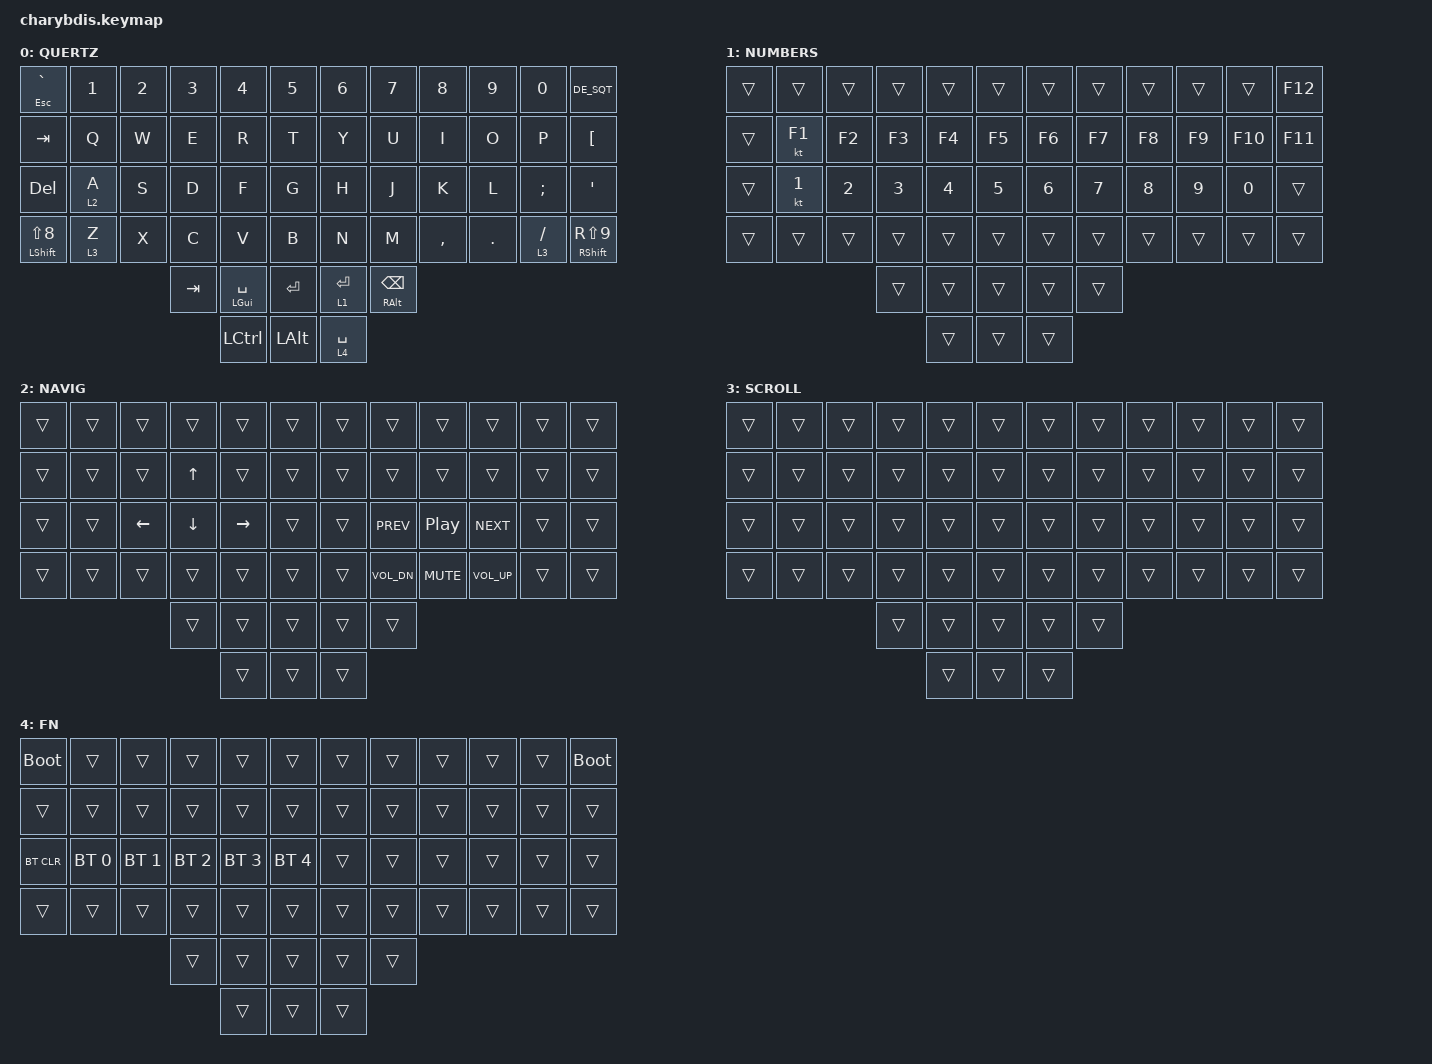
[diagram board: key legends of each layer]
#include "keys_de_swiss.h"
#include <dt-bindings/zmk/mouse.h>
#include <behaviors/mouse_keys.dtsi>
#include <behaviors.dtsi>
#include <dt-bindings/zmk/bt.h>
#include <dt-bindings/zmk/ext_power.h>
#include <dt-bindings/zmk/keys.h>
#include <dt-bindings/zmk/pointing.h>

// / {
//     chosen { zmk,matrix_transform = &default_transform; };
// };

/ {
    /* input config for mouse move mode */

    trackball_listener {
        compatible = "zmk,input-behavior-listener";
        device = <&vtrackball>;
        layers = <0 1 2 4>;
        evt-type = <INPUT_EV_REL>;
        x-input-code = <INPUT_REL_X>;
        y-input-code = <INPUT_REL_Y>;
        scale-multiplier = <1>;
        scale-divisor = <2>;

        // bindings = <&ib_toggle_layer 7>;
    };

    /* input config for snipe mode */


    /* input config for mouse scroll mode */

    trackball_scroll_listener {
        compatible = "zmk,input-behavior-listener";
        device = <&vtrackball>;
        layers = <3>;
        evt-type = <INPUT_EV_REL>;
        x-input-code = <INPUT_REL_MISC>;
        y-input-code = <INPUT_REL_WHEEL>;
        y-invert;
        bindings = <&ib_wheel_scaler 1 14>;
    };

    /* define a resolution down scaler only for INPUT_REL_WHEEL */

    ib_wheel_scaler: ib_wheel_scaler {
        compatible = "zmk,input-behavior-scaler";
        #binding-cells = <2>;
        evt-type = <INPUT_EV_REL>;
        input-code = <INPUT_REL_WHEEL>;
    };

    /* adjust cooldown waiting period for mouse key layer after activated */

    ib_toggle_layer: ib_toggle_layer {
        compatible = "zmk,input-behavior-tog-layer";
        #binding-cells = <1>;
        time-to-live-ms = <750>;
    };

    // #define QUERTZ    0
    // #define NUMBERS   1
    // #define NAVIG     2
    // #define SCROLL    3
    // #define FN        4

    combos {
        compatible = "zmk,combos";

        rh_backticks {
          bindings = <&kp EQUAL>;
          key-positions = <10 11>;  
        };

        rh_tilde {
          bindings = <&kp RIGHT_BRACKET>;
          key-positions = <22 23>;  
        };

        lh_caps {
            bindings = <&kp CLCK>;
            key-positions = <24 25>;
        };

        lh_smallerThan {
            bindings = <&kp NUBS>;
            key-positions = <26 27>;
            layers = <0 3>;
        };
       
        lh_greaterThan {
            bindings = <&kp LS(NUBS)>;
            key-positions = <27 28>;
            layers = <0 3>;
        };

        asterisk {
            bindings = <&kp BSLH>;
            key-positions = <34 35>;
        };

        rh_leftClick {
            bindings = <&mkp LCLK>;
            key-positions = <43 44>;
        };

        rh_rightClick {
            bindings = <&mkp RCLK>;
            key-positions = <44 45>;
        };

        rh_middleClick {
            bindings = <&mkp MCLK>;
            key-positions = <44 45 43>;
        };

        lh_leftClick {
            bindings = <&mkp LCLK>;
            key-positions = <40 39>;
        };

        lh_rightClick {
            bindings = <&mkp RCLK>;
            key-positions = <38 39>;
        };

        lh_middleClick {
            bindings = <&mkp MCLK>;
            key-positions = <38 39 40>;
        };

    };

    behaviors {
        hmr: hmr {
            compatible = "zmk,behavior-hold-tap";
            label = "HMR";
            bindings = <&kp>, <&kp>;

            #binding-cells = <2>;
            tapping-term-ms = <190>;
            quick-tap-ms = <175>;
            flavor = "balanced";
            hold-trigger-key-positions = <0 1 2 3 4 5 12 13 14 15 16 17 24 25 26 27 28 29 36 37 38 39 40 41 48 49 50 53 54 51 52 55>;
            hold-trigger-on-release;
        };

        hml: hml {
            compatible = "zmk,behavior-hold-tap";
            label = "HML";
            bindings = <&kp>, <&kp>;

            #binding-cells = <2>;
            tapping-term-ms = <190>;
            quick-tap-ms = <175>;
            flavor = "balanced";
            hold-trigger-key-positions = <48 49 50 53 54 51 52 55 6 7 8 9 10 11 18 19 20 21 22 23 30 31 32 33 34 35 42 43 44 45 46 47 51 52>;
            hold-trigger-on-release;
        };
    };

    keymap {
        compatible = "zmk,keymap";

        default_win_layer {
            bindings = <
&mt ESCAPE GRAVE      &kp N1               &kp N2           &kp N3           &kp N4             &kp N5            &kp N6       &kp N7              &kp N8            &kp N9            &kp N0                          &kp DE_SQT
&kp TAB         &kp Q                &kp W            &kp E            &kp R              &kp T             &kp Y     &kp U               &kp I             &kp O             &kp P                           &kp LEFT_BRACKET
&kp DELETE      &lt 2 A  &kp S  &kp D  &kp F           &kp G            &kp H              &kp J             &kp K        &kp L               &kp SEMI          &kp APOS
&mt LEFT_SHIFT LS(NUMBER_8)  &lt 3 Z           &kp X            &kp C            &kp V              &kp B             &kp N        &kp M               &kp COMMA         &kp PERIOD     &lt 3 SLASH                  &mt RSHIFT RS(NUMBER_9) 
                                                      &kp TAB        &mt LEFT_GUI SPACE &kp ENTER    &lt 1 ENTER  &mt RALT BACKSPACE
                                                                       &kp LCTL          &kp LALT         &lt 4 SPACE
            >;

            label = "QUERTZ";
        };

        win_raise_layer {
            bindings = <
&trans                        &trans                &trans                      &trans                              &trans                                &trans            &trans               &trans                  &trans                          &trans                           &trans                         &kp F12
&trans                        &kt F1    &kp F2         &kp F3          &kp F4            &kp F5        &kp F6  &kp F7           &kp F8          &kp F9        &kp F10          &kp F11
&trans                        &kt N1     &kp N2        &kp N3        &kp N4              &kp N5        &kp N6  &kp N7           &kp N8          &kp N9        &kp N0         &trans     
&trans  &trans  &trans  &trans  &trans  &trans    &trans  &trans  &trans  &trans  &trans  &trans
                        &trans  &trans  &trans    &trans  &trans
                                &trans  &trans    &trans
        >;

            label = "NUMBERS";
        };

        naivgation_layer {
            bindings = <
&trans  &trans  &trans  &trans  &trans  &trans    &trans  &trans  &trans  &trans  &trans  &trans
&trans  &trans  &trans  &kp UP  &trans  &trans    &trans  &trans  &trans  &trans  &trans  &trans
&trans  &trans  &kp LEFT  &kp DOWN  &kp RIGHT &trans &trans &kp C_PREV  &kp C_PP  &kp C_NEXT &trans  &trans
&trans  &trans  &trans  &trans  &trans  &trans    &trans  &kp C_VOL_DN &kp C_MUTE  &kp C_VOL_UP    &trans  &trans
                        &trans  &trans  &trans    &trans  &trans
                                &trans  &trans    &trans
            >;

            label = "NAVIG";
        };

        scroll_layer {
            bindings = <
&trans  &trans  &trans  &trans  &trans  &trans    &trans  &trans  &trans  &trans  &trans  &trans
&trans  &trans  &trans  &trans  &trans  &trans    &trans  &trans  &trans  &trans  &trans  &trans
&trans  &trans  &trans  &trans  &trans  &trans    &trans  &trans  &trans  &trans  &trans  &trans
&trans  &trans  &trans  &trans  &trans  &trans    &trans  &trans  &trans  &trans  &trans  &trans
                        &trans  &trans  &trans    &trans  &trans
                                &trans  &trans    &trans
            >;

            label = "SCROLL";
        };


        keeb_pref_layer {
            label = "FN";
            bindings = <
&bootloader  &trans        &trans        &trans        &trans        &trans          &trans  &trans  &trans  &trans  &trans  &bootloader
&trans             &trans        &trans        &trans        &trans        &trans          &trans  &trans  &trans  &trans  &trans  &trans
&bt BT_CLR         &bt BT_SEL 0  &bt BT_SEL 1  &bt BT_SEL 2  &bt BT_SEL 3  &bt BT_SEL 4    &trans  &trans  &trans  &trans  &trans  &trans
&trans             &trans        &trans        &trans        &trans        &trans          &trans  &trans  &trans  &trans  &trans  &trans
                                               &trans        &trans        &trans          &trans  &trans
                                                             &trans        &trans          &trans
            >;
        };
    };
};
